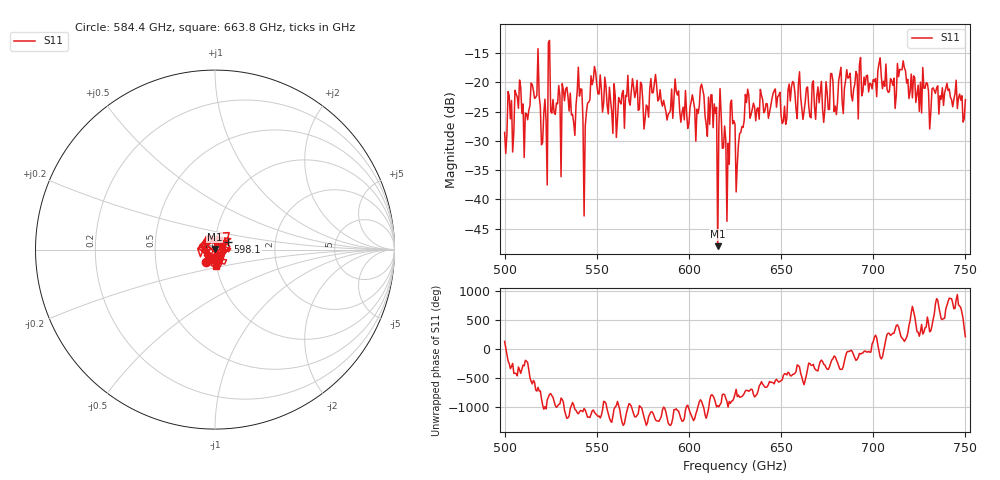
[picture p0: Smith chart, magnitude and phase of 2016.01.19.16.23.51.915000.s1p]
!Created with skrf (http://scikit-rf.org).
# GHz S RI R 50.0
!freq ReS11 ImS11
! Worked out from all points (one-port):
!   401 points, 500 GHz to 750 GHz, reference 50 ohm
!   lowest |S11| = -48.0 dB at 615.6 GHz (marker M1), VSWR 1.01, Z = 49.9 + j0.383 ohm
!   |S11| at or under -10 dB: start of sweep to end of sweep
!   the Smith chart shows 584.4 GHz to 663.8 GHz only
!   S11 on the Smith chart (normalised r, x): 584.4 GHz: 0.90, -0.13; 598.1 GHz: 1.15, +0.10; 663.8 GHz: 0.99, -0.18
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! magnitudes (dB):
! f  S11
! 500 GHz  -28.6
! 507.5 GHz  -24.4
! 511.9 GHz  -25.4
! 518.1 GHz  -14.2
! 521.9 GHz  -22.9
! 525 GHz  -25.0
! 526.2 GHz  -22.9
! 531.2 GHz  -20.2
! 537.5 GHz  -27.0
! 540.6 GHz  -22.4
! 543.8 GHz  -27.5
! 548.1 GHz  -19.6
! 562.5 GHz  -23.3
! 584.4 GHz  -21.3
! 593.8 GHz  -22.2
! 598.1 GHz  -21.4
! 606.9 GHz  -20.3
! 615.6 GHz  -48.0
! 620.6 GHz  -43.7
! 623.8 GHz  -27.1
! 625 GHz  -27.2
! 631.2 GHz  -23.5
! 651.9 GHz  -24.1
! 656.2 GHz  -19.9
! 663.8 GHz  -21.0
! 687.5 GHz  -18.5
! 718.8 GHz  -19.5
! 750 GHz  -23.0
